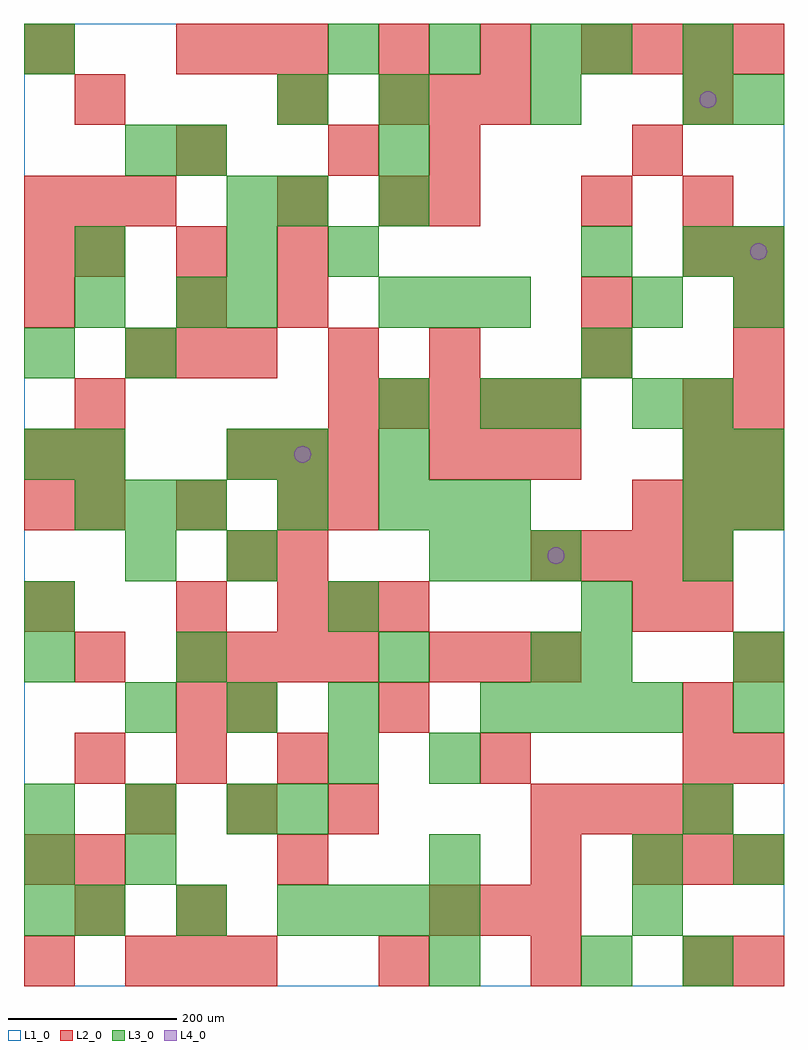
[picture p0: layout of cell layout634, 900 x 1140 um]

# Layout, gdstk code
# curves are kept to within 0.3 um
import gdstk
lib = gdstk.Library(unit=1e-6, precision=1e-09)
def R(c, l, rs):  # rectangles x0, y0, x1, y1
    for r in rs: c.add(gdstk.rectangle(r[:2], r[2:], *l))
def A(c, l, x, y, w, h, nx, ny, dx, dy):  # array of equal rectangles
    R(c, l, [(x+i*dx, y+j*dy, x+i*dx+w, y+j*dy+h) for i in range(nx) for j in range(ny)])
def P(c, l, *ps):  # polygons
    for p in ps: c.add(gdstk.Polygon(p, *l))
L1_0 = (1, 0)
L2_0 = (2, 0)
L3_0 = (3, 0)
L4_0 = (4, 0)

layout634 = lib.new_cell('layout634')
R(layout634, L1_0, [(0,0,900,1140)])
A(layout634, L2_0, 120, 0, 60, 60, 3, 2, 60, 720)
A(layout634, L2_0, 420, 0, 60, 60, 3, 1, 180, 0)
A(layout634, L2_0, 480, 60, 60, 60, 3, 2, 60, 300)
A(layout634, L2_0, 60, 120, 60, 60, 1, 3, 0, 240)
A(layout634, L2_0, 720, 120, 60, 60, 3, 2, 60, 420)
A(layout634, L2_0, 120, 180, 60, 60, 3, 1, 120, 0)
A(layout634, L2_0, 600, 180, 60, 60, 4, 2, 60, 300)
A(layout634, L2_0, 60, 240, 60, 60, 3, 3, 120, 300)
A(layout634, L2_0, 180, 360, 60, 60, 4, 1, 60, 0)
A(layout634, L2_0, 300, 420, 60, 60, 3, 1, 60, 0)
A(layout634, L2_0, 240, 600, 60, 60, 3, 1, 60, 0)
A(layout634, L2_0, 480, 600, 60, 60, 3, 1, 60, 0)
A(layout634, L2_0, 360, 660, 60, 60, 5, 1, 60, 0)
A(layout634, L2_0, 480, 720, 60, 60, 3, 1, 180, 0)
A(layout634, L2_0, 300, 780, 60, 60, 1, 3, 0, 120)
A(layout634, L2_0, 0, 900, 60, 60, 3, 1, 60, 0)
A(layout634, L2_0, 420, 1020, 60, 60, 3, 1, 60, 0)
A(layout634, L2_0, 180, 1080, 60, 60, 3, 1, 60, 0)
A(layout634, L2_0, 420, 1080, 60, 60, 3, 1, 120, 0)
A(layout634, L2_0, 720, 1080, 60, 60, 3, 1, 60, 0)
R(layout634, L2_0, [(0,0,60,60), (840,0,900,60), (60,60,120,120), (180,60,240,120), (0,120,60,180), (300,120,360,180), (600,120,660,180), (540,240,600,300), (780,240,840,300), (840,240,900,300), (180,300,240,360), (240,300,300,360), (420,300,480,360), (780,300,840,360), (840,360,900,420), (0,420,60,480), (180,420,240,480), (720,420,780,480), (780,420,840,480), (240,480,300,540), (300,480,360,540), (0,540,60,600), (360,540,420,600), (0,600,60,660), (780,600,840,660), (840,600,900,660), (60,660,120,720), (780,660,840,720), (840,660,900,720), (360,720,420,780), (0,780,60,840), (180,780,240,840), (660,780,720,840), (840,780,900,840), (0,840,60,900), (780,840,840,900), (840,840,900,900), (420,900,480,960), (480,900,540,960), (660,900,720,960), (780,900,840,960), (180,960,240,1020), (360,960,420,1020), (480,960,540,1020), (720,960,780,1020), (60,1020,120,1080), (780,1020,840,1080), (0,1080,60,1140)])
A(layout634, L3_0, 480, 0, 60, 60, 1, 3, 0, 120)
A(layout634, L3_0, 60, 60, 60, 60, 3, 1, 120, 0)
A(layout634, L3_0, 360, 60, 60, 60, 3, 1, 60, 0)
A(layout634, L3_0, 0, 180, 60, 60, 3, 1, 120, 0)
A(layout634, L3_0, 120, 300, 60, 60, 3, 1, 120, 0)
A(layout634, L3_0, 540, 300, 60, 60, 4, 1, 60, 0)
A(layout634, L3_0, 120, 480, 60, 60, 1, 3, 0, 240)
A(layout634, L3_0, 480, 480, 60, 60, 3, 1, 60, 0)
A(layout634, L3_0, 780, 480, 60, 60, 1, 4, 0, 60)
A(layout634, L3_0, 60, 540, 60, 60, 3, 1, 60, 0)
A(layout634, L3_0, 420, 540, 60, 60, 3, 2, 60, 240)
A(layout634, L3_0, 240, 780, 60, 60, 1, 3, 0, 60)
A(layout634, L3_0, 420, 1020, 60, 60, 3, 1, 180, 0)
A(layout634, L3_0, 360, 1080, 60, 60, 3, 1, 120, 0)
R(layout634, L3_0, [(660,0,720,60), (780,0,840,60), (0,60,60,120), (720,60,780,120), (0,120,60,180), (120,120,180,180), (720,120,780,180), (840,120,900,180), (300,180,360,240), (780,180,840,240), (360,240,420,300), (840,300,900,360), (0,360,60,420), (180,360,240,420), (420,360,480,420), (600,360,660,420), (660,360,720,420), (840,360,900,420), (0,420,60,480), (360,420,420,480), (660,420,720,480), (240,480,300,540), (300,540,360,600), (840,540,900,600), (0,600,60,660), (60,600,120,660), (240,600,300,660), (300,600,360,660), (420,600,480,660), (840,600,900,660), (420,660,480,720), (540,660,600,720), (600,660,660,720), (720,660,780,720), (0,720,60,780), (660,720,720,780), (60,780,120,840), (180,780,240,840), (720,780,780,840), (840,780,900,840), (60,840,120,900), (360,840,420,900), (660,840,720,900), (780,840,840,900), (840,840,900,900), (300,900,360,960), (420,900,480,960), (180,960,240,1020), (420,960,480,1020), (300,1020,360,1080), (840,1020,900,1080), (0,1080,60,1140), (660,1080,720,1140), (780,1080,840,1140)])
P(layout634, L4_0, [(340,630),(339.239,633.827),(337.071,637.071),(333.827,639.239),(330,640),(326.173,639.239),(322.929,637.071),(320.761,633.827),(320,630),(320.761,626.173),(322.929,622.929),(326.173,620.761),(330,620),(333.827,620.761),(337.071,622.929),(339.239,626.173)],
  [(640,510),(639.239,513.827),(637.071,517.071),(633.827,519.239),(630,520),(626.173,519.239),(622.929,517.071),(620.761,513.827),(620,510),(620.761,506.173),(622.929,502.929),(626.173,500.761),(630,500),(633.827,500.761),(637.071,502.929),(639.239,506.173)],
  [(820,1050),(819.239,1053.827),(817.071,1057.071),(813.827,1059.239),(810,1060),(806.173,1059.239),(802.929,1057.071),(800.761,1053.827),(800,1050),(800.761,1046.173),(802.929,1042.929),(806.173,1040.761),(810,1040),(813.827,1040.761),(817.071,1042.929),(819.239,1046.173)],
  [(880,870),(879.239,873.827),(877.071,877.071),(873.827,879.239),(870,880),(866.173,879.239),(862.929,877.071),(860.761,873.827),(860,870),(860.761,866.173),(862.929,862.929),(866.173,860.761),(870,860),(873.827,860.761),(877.071,862.929),(879.239,866.173)])

lib.write_gds('layout634.gds')
